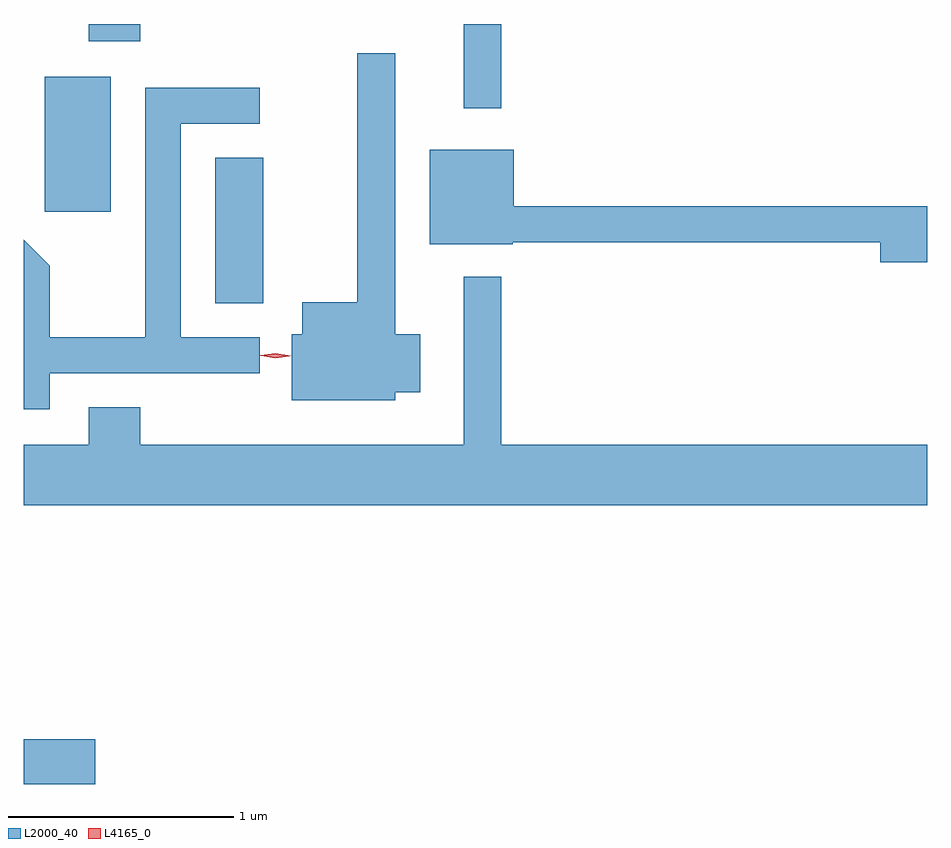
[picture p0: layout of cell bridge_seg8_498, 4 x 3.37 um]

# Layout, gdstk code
import gdstk
lib = gdstk.Library(unit=1e-6, precision=1e-09)
def R(c, l, rs):  # rectangles x0, y0, x1, y1
    for r in rs: c.add(gdstk.rectangle(r[:2], r[2:], *l))
def P(c, l, *ps):  # polygons
    for p in ps: c.add(gdstk.Polygon(p, *l))
L2000_40 = (2000, 40)
L4165_0 = (4165, 0)

bridge_seg8_498 = lib.new_cell('bridge_seg8_498')
R(bridge_seg8_498, L2000_40, [(338.754,1895.121,339.069,1895.319), (339.601,1897.251,339.814,1897.894), (338.846,1897.656,339.139,1898.254), (340.701,1898.113,340.869,1898.487), (339.041,1898.411,339.269,1898.487)])
P(bridge_seg8_498, L2000_40, [(340.399,1896.856),(340.509,1896.856),(340.509,1897.114),(340.399,1897.114),(340.399,1898.358),(340.231,1898.358),(340.231,1897.254),(339.986,1897.254),(339.986,1897.114),(339.941,1897.114),(339.941,1896.821),(340.399,1896.821)],
  [(338.869,1896.941),(339.798,1896.941),(339.798,1897.099),(339.449,1897.099),(339.449,1898.046),(339.798,1898.046),(339.798,1898.204),(339.291,1898.204),(339.291,1897.099),(338.869,1897.099),(338.869,1897.417),(338.754,1897.532),(338.754,1896.781),(338.869,1896.781)],
  [(342.754,1897.679),(340.924,1897.679),(340.924,1897.929),(340.551,1897.929),(340.551,1897.511),(340.92,1897.511),(340.92,1897.521),(342.546,1897.521),(342.546,1897.431),(342.754,1897.431)],
  [(342.754,1896.624),(340.869,1896.624),(340.869,1897.368),(340.701,1897.368),(340.701,1896.624),(339.269,1896.624),(339.269,1896.789),(339.041,1896.789),(339.041,1896.624),(338.754,1896.624),(338.754,1896.356),(342.754,1896.356)])
P(bridge_seg8_498, L4165_0, [(339.868,1897.009),(339.8,1897.02),(339.8,1897.02),(339.8,1897.02),(339.868,1897.029),(339.935,1897.018),(339.936,1897.018),(339.935,1897.017)],
  [(339.866,1897.007),(339.804,1897.018),(339.803,1897.018),(339.804,1897.019),(339.867,1897.027),(339.93,1897.016),(339.93,1897.016),(339.93,1897.015)])

lib.write_gds('bridge_seg8_498.gds')
